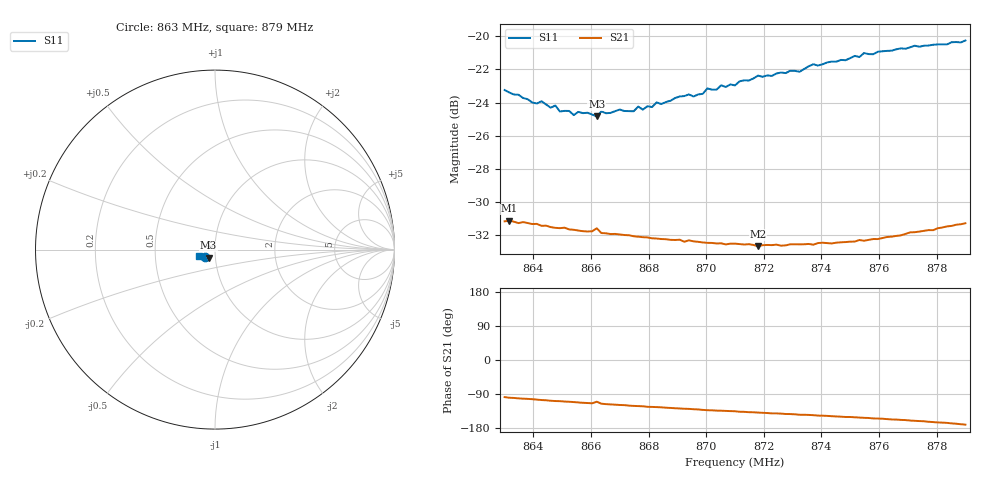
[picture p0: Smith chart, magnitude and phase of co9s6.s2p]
# HZ S RI R 50
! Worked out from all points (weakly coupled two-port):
!   101 points, 863 MHz to 879 MHz, reference 50 ohm
!   highest |S21| = -31.12 dB at 863.16 MHz (marker M1); lowest = -32.7 dB at 871.8 MHz (marker M2)
!   lowest |S11| = -24.8 dB at 866.2 MHz (marker M3), VSWR 1.12, Z = 46.3 - j4.15 ohm
!   |S11| at or under -10 dB: start of sweep to end of sweep
!   S12 and S22 are empty: the file has one direction only
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8.63e8  -0.053 -0.0439  -0.00382 -0.0274  0 0  0 0
8.6316e8  -0.0516 -0.0438  -0.0046 -0.0274  0 0  0 0
8.6396e8  -0.0471 -0.0421  -0.0063 -0.0264  0 0  0 0
8.6428e8  -0.0464 -0.0437  -0.00724 -0.0258  0 0  0 0
8.646e8  -0.044 -0.0421  -0.00798 -0.0254  0 0  0 0
8.6476e8  -0.0454 -0.042  -0.00831 -0.0251  0 0  0 0
8.6492e8  -0.0427 -0.0412  -0.00842 -0.025  0 0  0 0
8.6572e8  -0.0392 -0.0436  -0.0101 -0.0238  0 0  0 0
8.662e8  -0.036 -0.0446  -0.00904 -0.0248  0 0  0 0
8.6636e8  -0.0396 -0.0443  -0.0109 -0.023  0 0  0 0
8.6748e8  -0.0357 -0.0475  -0.0129 -0.0214  0 0  0 0
8.6764e8  -0.0371 -0.0489  -0.013 -0.0212  0 0  0 0
8.678e8  -0.0358 -0.0483  -0.0132 -0.021  0 0  0 0
8.6844e8  -0.0364 -0.0508  -0.014 -0.0201  0 0  0 0
8.6988e8  -0.0383 -0.055  -0.0159 -0.0179  0 0  0 0
8.7004e8  -0.0406 -0.0566  -0.0161 -0.0176  0 0  0 0
8.71e8  -0.0428 -0.0567  -0.0168 -0.0167  0 0  0 0
8.718e8  -0.0488 -0.0585  -0.0175 -0.0154  0 0  0 0
8.7324e8  -0.0532 -0.0573  -0.0192 -0.0137  0 0  0 0
8.7372e8  -0.057 -0.0594  -0.0194 -0.0133  0 0  0 0
8.7644e8  -0.0742 -0.0519  -0.0229 -0.00973  0 0  0 0
8.79e8  -0.0901 -0.0365  -0.0269 -0.00449  0 0  0 0
